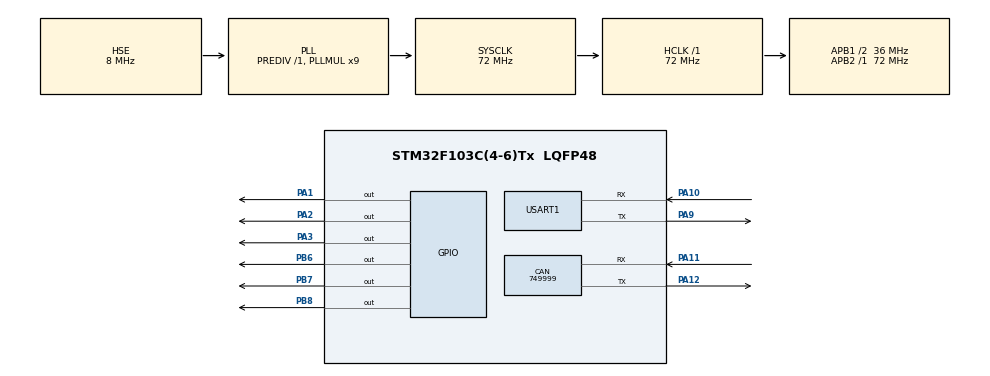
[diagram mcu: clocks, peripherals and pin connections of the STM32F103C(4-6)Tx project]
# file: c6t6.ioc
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CAN.CalculateBaudRate=749999
CAN.CalculateTimeBit=1333
CAN.CalculateTimeQuantum=444.44444444444446
FREERTOS.Tasks01=defaultTask,0,128,StartDefaultTask,Default,NULL,Dynamic,NULL,NULL
FREERTOS.configTIMER_TASK_PRIORITY=1
FREERTOS.configTOTAL_HEAP_SIZE=3072
FREERTOS.configUSE_NEWLIB_REENTRANT=1
FREERTOS.configUSE_TIMERS=1
FREERTOS.configUSE_TRACE_FACILITY=1
Mcu.Family=STM32F1
Mcu.Name=STM32F103C(4-6)Tx
Mcu.Package=LQFP48
NVIC.PriorityGroup=NVIC_PRIORITYGROUP_4
NVIC.TIM1_UP_IRQn=true\:15\:0\:false\:false\:true\:false\:false\:true\:true
NVIC.TimeBase=TIM1_UP_IRQn
NVIC.TimeBaseIP=TIM1
NVIC.USB_LP_CAN1_RX0_IRQn=true\:5\:0\:false\:false\:true\:true\:true\:true\:true
PA1.Signal=GPIO_Output
PA10.Mode=Asynchronous
PA10.Signal=USART1_RX
PA11.GPIO_PuPd=GPIO_PULLUP
PA11.Mode=CAN_Activate
PA11.Signal=CAN_RX
PA12.Mode=CAN_Activate
PA12.Signal=CAN_TX
PA13.Mode=Serial_Wire
PA13.Signal=SYS_JTMS-SWDIO
PA14.Mode=Serial_Wire
PA14.Signal=SYS_JTCK-SWCLK
PA2.Signal=GPIO_Output
PA3.Signal=GPIO_Output
PA9.Mode=Asynchronous
PA9.Signal=USART1_TX
PB6.Signal=GPIO_Output
PB7.Signal=GPIO_Output
PB8.Signal=GPIO_Output
PD0-OSC_IN.Mode=HSE-External-Oscillator
PD0-OSC_IN.Signal=RCC_OSC_IN
PD1-OSC_OUT.Mode=HSE-External-Oscillator
PD1-OSC_OUT.Signal=RCC_OSC_OUT
ProjectManager.HeapSize=0x200
ProjectManager.StackSize=0x400
ProjectManager.TargetToolchain=STM32CubeIDE
RCC.AHBFreq_Value=72000000
RCC.APB1CLKDivider=RCC_HCLK_DIV2
RCC.APB1Freq_Value=36000000
RCC.APB1TimFreq_Value=72000000
RCC.APB2Freq_Value=72000000
RCC.APB2TimFreq_Value=72000000
RCC.HCLKFreq_Value=72000000
RCC.PLLMUL=RCC_PLL_MUL9
RCC.PLLSourceVirtual=RCC_PLLSOURCE_HSE
RCC.SYSCLKFreq_VALUE=72000000
RCC.SYSCLKSource=RCC_SYSCLKSOURCE_PLLCLK
RCC.USBFreq_Value=72000000
USART1.VirtualMode=VM_ASYNC
VP_FREERTOS_VS_CMSIS_V1.Mode=CMSIS_V1
VP_SYS_VS_tim1.Mode=TIM1
board=custom

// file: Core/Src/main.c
/* USER CODE BEGIN Header */
/**
 ******************************************************************************
 * @file           : main.c
 * @brief          : Main program body
 ******************************************************************************
 * @attention
 *
 * Copyright (c) 2025 STMicroelectronics.
 * All rights reserved.
 *
 * This software is licensed under terms that can be found in the LICENSE file
 * in the root directory of this software component.
 * If no LICENSE file comes with this software, it is provided AS-IS.
 *
 ******************************************************************************
 */
/* USER CODE END Header */
#include "main.h"
/* USER CODE BEGIN Includes */
#include "FreeRTOS.h"
#include "task.h"
#include "timers.h"
#include "queue.h"
#include "semphr.h"
#include "event_groups.h"
#include "stdbool.h"
#include "SEGGER_SYSVIEW.h"
/* USER CODE END Includes */

/* USER CODE BEGIN PD */
#define CONTROLLER_ADDR 			0xAF
#define MY_ADDR 					0x01

#define LATCH_PIN 					GPIO_PIN_7
#define CLOCK_PIN 					GPIO_PIN_8
#define DATA_PIN 					GPIO_PIN_6
#define LED7_PORT					GPIOB

#define GREEN_LED_PIN 				GPIO_PIN_2
#define YELLOW_LED_PIN 				GPIO_PIN_1
#define RED_LED_PIN 				GPIO_PIN_3
#define LED_PORT 					GPIOA

//BOARD 4
//#define GREEN_LED_PIN 				GPIO_PIN_3
//#define YELLOW_LED_PIN 				GPIO_PIN_1
//#define RED_LED_PIN 				GPIO_PIN_2
//#define LED_PORT 					GPIOA

#define TIME_LED_GREEN_DEFAULT		15
#define TIME_LED_YELLOW_DEFAULT		5
#define TIME_LED_RED_DEFAULT		20
/* USER CODE END PD */

CAN_HandleTypeDef hcan;

UART_HandleTypeDef huart1;

/* USER CODE BEGIN PV */
const uint8_t Seg[10] =
		{ 0b00010010, 0b10110111, 0b00011001, 0b10010001, 0b10110100,
				0b11010000, 0b01010000, 0b10010111, 0b00010000, 0b10010000, };

typedef enum {
	LEDColor_UNKNOWN = 0x0000,
	LEDColor_RED = 0x0001,
	LEDColor_YELLOW = 0x0002,
	LEDColor_GREEN = 0x0003
} LED_COLOR;

typedef enum {
	CMD_CYCLE = 0x0000,
	CMD_REQUEST = 0x0001,
	CMD_ACK = 0x0002,
	CMD_RESPONSE = 0x0100
} CMD_CODE;

typedef struct {
	LED_COLOR currentColor;
	int32_t remainSeconds;
	int32_t initSeconds[4];
	bool isResp;
} TRAFFIC_LIGHT_STATION;

TRAFFIC_LIGHT_STATION station = { .currentColor = LEDColor_YELLOW,
		.remainSeconds = 0, .initSeconds = { [LEDColor_UNKNOWN] = 0,
				[LEDColor_RED ] = TIME_LED_RED_DEFAULT, [LEDColor_YELLOW
						] = TIME_LED_YELLOW_DEFAULT, [LEDColor_GREEN
						] = TIME_LED_GREEN_DEFAULT }, .isResp = false };

uint8_t canTxData[8];
CAN_RxHeaderTypeDef rxHeader;
CAN_TxHeaderTypeDef txHeader;
uint8_t canRX[8] = { 0 };
CAN_FilterTypeDef canfil;
uint32_t canMailbox;

QueueHandle_t xQueue_LEDColor;
QueueHandle_t xQueue_LED7Seg;

SemaphoreHandle_t xChangeState;
SemaphoreHandle_t xGetReq;

TimerHandle_t xCANCycle;
TimerHandle_t xCANRequest;

//SemaphoreHandle_t xCANMutex;
/* USER CODE END PV */

void SystemClock_Config(void);
static void MX_GPIO_Init(void);
static void MX_CAN_Init(void);
static void MX_USART1_UART_Init(void);
void StartDefaultTask(void const *argument);

/* USER CODE BEGIN PFP */
void LED7_Display(int32_t value);
void LED_SetColor(LED_COLOR color);
void CAN_SendMessage(CMD_CODE cmd, LED_COLOR led_color, uint32_t time_counter);
/* USER CODE END PFP */

/* USER CODE BEGIN 0 */
void TASK_LED7_DisplayValue(void *pvParams);
void TASK_LEDColor_Control(void *pvParams);
void TASK_ManagerPoint(void *pvParams);

void CAN_CycleCallback(TimerHandle_t xTimer);
void CAN_RequestCallback(TimerHandle_t xTimer);
/* USER CODE END 0 */

int main(void) {

	/* MCU Configuration--------------------------------------------------------*/

	/* Reset of all peripherals, Initializes the Flash interface and the Systick. */
	HAL_Init();
	HAL_Delay(360);

	/* Configure the system clock */
	SystemClock_Config();

	/* Initialize all configured peripherals */
	MX_GPIO_Init();
	MX_CAN_Init();
	MX_USART1_UART_Init();
	/* USER CODE BEGIN 2 */
	txHeader.DLC = 8;
	txHeader.IDE = CAN_ID_EXT;
	txHeader.RTR = CAN_RTR_DATA;
	txHeader.StdId = 0x01;
	txHeader.ExtId = (CONTROLLER_ADDR << 8) | MY_ADDR;
	txHeader.TransmitGlobalTime = DISABLE;

	canfil.FilterBank = 0;
	canfil.FilterMode = CAN_FILTERMODE_IDMASK;
	canfil.FilterFIFOAssignment = CAN_RX_FIFO0;
	canfil.FilterIdHigh = 0;
	canfil.FilterIdLow = 0;
	canfil.FilterMaskIdHigh = 0;
	canfil.FilterMaskIdLow = 0;
	canfil.FilterScale = CAN_FILTERSCALE_32BIT;
	canfil.FilterActivation = ENABLE;
	canfil.SlaveStartFilterBank = 14;

	HAL_CAN_ConfigFilter(&hcan, &canfil); //Initialize CAN Filter
	HAL_CAN_Start(&hcan); //Initialize CAN Bus
	HAL_CAN_ActivateNotification(&hcan, CAN_IT_RX_FIFO0_MSG_PENDING); // Initialize CAN Bus Rx Interrupt
	/* USER CODE END 2 */

	/* USER CODE BEGIN RTOS_MUTEX */
	/* add mutexes, ... */
//	xCANMutex = xSemaphoreCreateMutex();
	/* USER CODE END RTOS_MUTEX */

	/* USER CODE BEGIN RTOS_SEMAPHORES */
	/* add semaphores, ... */
	DWT->CYCCNT = 0;
	DWT->CTRL |= DWT_CTRL_CYCCNTENA_Msk;
	SEGGER_UART_init(500000);
	SEGGER_SYSVIEW_Conf();
	vSetVarulMaxPRIGROUPValue();
	//	SEGGER_SYSVIEW_Start();

	xChangeState = xSemaphoreCreateBinary();
	xGetReq = xSemaphoreCreateBinary();
	/* USER CODE END RTOS_SEMAPHORES */

	/* USER CODE BEGIN RTOS_TIMERS */
	/* start timers, add new ones, ... */
	xCANCycle = xTimerCreate("CANCycle", pdMS_TO_TICKS(100), pdTRUE, (void*) 0,
			CAN_CycleCallback);

	if (xCANCycle != NULL) {
		xTimerStart(xCANCycle, 0);
	}

	xCANRequest = xTimerCreate("CANRequest", pdMS_TO_TICKS(100), pdTRUE,
			(void*) 0, CAN_RequestCallback);
	/* USER CODE END RTOS_TIMERS */

	/* USER CODE BEGIN RTOS_QUEUES */
	/* add queues, ... */
	xQueue_LEDColor = xQueueCreate(1, sizeof(LED_COLOR));
	xQueue_LED7Seg = xQueueCreate(1, sizeof(int32_t));
	/* USER CODE END RTOS_QUEUES */

	/* Create the thread(s) */
	/* definition and creation of defaultTask */

	/* USER CODE BEGIN RTOS_THREADS */
	/* add threads, ... */

	xTaskCreate(TASK_LED7_DisplayValue, "LED7", 128, NULL, 1, NULL);
	xTaskCreate(TASK_LEDColor_Control, "LEDColor", 128, NULL, 2, NULL);
	xTaskCreate(TASK_ManagerPoint, "Manager", 128, NULL, 3, NULL);

	vTaskStartScheduler();
	/* USER CODE END RTOS_THREADS */

	/* Start scheduler */

	/* We should never get here as control is now taken by the scheduler */

	/* Infinite loop */
	while (1) {

	}
}

void SystemClock_Config(void) {
	RCC_OscInitTypeDef RCC_OscInitStruct = { 0 };
	RCC_ClkInitTypeDef RCC_ClkInitStruct = { 0 };

	/** Initializes the RCC Oscillators according to the specified parameters
	 * in the RCC_OscInitTypeDef structure.
	 */
	RCC_OscInitStruct.OscillatorType = RCC_OSCILLATORTYPE_HSE;
	RCC_OscInitStruct.HSEState = RCC_HSE_ON;
	RCC_OscInitStruct.HSEPredivValue = RCC_HSE_PREDIV_DIV1;
	RCC_OscInitStruct.HSIState = RCC_HSI_ON;
	RCC_OscInitStruct.PLL.PLLState = RCC_PLL_ON;
	RCC_OscInitStruct.PLL.PLLSource = RCC_PLLSOURCE_HSE;
	RCC_OscInitStruct.PLL.PLLMUL = RCC_PLL_MUL9;
	if (HAL_RCC_OscConfig(&RCC_OscInitStruct) != HAL_OK) {
		Error_Handler();
	}

	/** Initializes the CPU, AHB and APB buses clocks
	 */
	RCC_ClkInitStruct.ClockType = RCC_CLOCKTYPE_HCLK | RCC_CLOCKTYPE_SYSCLK
			| RCC_CLOCKTYPE_PCLK1 | RCC_CLOCKTYPE_PCLK2;
	RCC_ClkInitStruct.SYSCLKSource = RCC_SYSCLKSOURCE_PLLCLK;
	RCC_ClkInitStruct.AHBCLKDivider = RCC_SYSCLK_DIV1;
	RCC_ClkInitStruct.APB1CLKDivider = RCC_HCLK_DIV2;
	RCC_ClkInitStruct.APB2CLKDivider = RCC_HCLK_DIV1;

	if (HAL_RCC_ClockConfig(&RCC_ClkInitStruct, FLASH_LATENCY_2) != HAL_OK) {
		Error_Handler();
	}
}

static void MX_CAN_Init(void) {

	hcan.Instance = CAN1;
	hcan.Init.Prescaler = 9;
	hcan.Init.Mode = CAN_MODE_NORMAL;
	hcan.Init.SyncJumpWidth = CAN_SJW_1TQ;
	hcan.Init.TimeSeg1 = CAN_BS1_3TQ;
	hcan.Init.TimeSeg2 = CAN_BS2_4TQ;
	hcan.Init.TimeTriggeredMode = DISABLE;
	hcan.Init.AutoBusOff = DISABLE;
	hcan.Init.AutoWakeUp = DISABLE;
	hcan.Init.AutoRetransmission = DISABLE;
	hcan.Init.ReceiveFifoLocked = DISABLE;
	hcan.Init.TransmitFifoPriority = DISABLE;
	if (HAL_CAN_Init(&hcan) != HAL_OK) {
		Error_Handler();
	}

}

static void MX_USART1_UART_Init(void) {

	huart1.Instance = USART1;
	huart1.Init.BaudRate = 115200;
	huart1.Init.WordLength = UART_WORDLENGTH_8B;
	huart1.Init.StopBits = UART_STOPBITS_1;
	huart1.Init.Parity = UART_PARITY_NONE;
	huart1.Init.Mode = UART_MODE_TX_RX;
	huart1.Init.HwFlowCtl = UART_HWCONTROL_NONE;
	huart1.Init.OverSampling = UART_OVERSAMPLING_16;
	if (HAL_UART_Init(&huart1) != HAL_OK) {
		Error_Handler();
	}

}

static void MX_GPIO_Init(void) {
	GPIO_InitTypeDef GPIO_InitStruct = { 0 };

	/* GPIO Ports Clock Enable */
	__HAL_RCC_GPIOD_CLK_ENABLE();
	__HAL_RCC_GPIOA_CLK_ENABLE();
	__HAL_RCC_GPIOB_CLK_ENABLE();

	/*Configure GPIO pin Output Level */
	HAL_GPIO_WritePin(GPIOA, GPIO_PIN_1 | GPIO_PIN_2 | GPIO_PIN_3,
			GPIO_PIN_RESET);

	/*Configure GPIO pin Output Level */
	HAL_GPIO_WritePin(GPIOB, GPIO_PIN_6 | GPIO_PIN_7 | GPIO_PIN_8,
			GPIO_PIN_RESET);

	/*Configure GPIO pins : PA1 PA2 PA3 */
	GPIO_InitStruct.Pin = GPIO_PIN_1 | GPIO_PIN_2 | GPIO_PIN_3;
	GPIO_InitStruct.Mode = GPIO_MODE_OUTPUT_PP;
	GPIO_InitStruct.Pull = GPIO_NOPULL;
	GPIO_InitStruct.Speed = GPIO_SPEED_FREQ_LOW;
	HAL_GPIO_Init(GPIOA, &GPIO_InitStruct);

	/*Configure GPIO pins : PB6 PB7 PB8 */
	GPIO_InitStruct.Pin = GPIO_PIN_6 | GPIO_PIN_7 | GPIO_PIN_8;
	GPIO_InitStruct.Mode = GPIO_MODE_OUTPUT_PP;
	GPIO_InitStruct.Pull = GPIO_NOPULL;
	GPIO_InitStruct.Speed = GPIO_SPEED_FREQ_LOW;
	HAL_GPIO_Init(GPIOB, &GPIO_InitStruct);

}

/* USER CODE BEGIN 4 */
void LED7_Display(int32_t value) {
	uint8_t tens = value / 10;
	uint8_t units = value % 10;

	HAL_GPIO_WritePin(LED7_PORT, LATCH_PIN, GPIO_PIN_RESET);

	for (int i = 7; i >= 0; i--) {
		HAL_GPIO_WritePin(LED7_PORT, DATA_PIN, (Seg[units] >> i) & 0x01);
		HAL_GPIO_WritePin(LED7_PORT, CLOCK_PIN, GPIO_PIN_SET);
		HAL_GPIO_WritePin(LED7_PORT, CLOCK_PIN, GPIO_PIN_RESET);
	}

	for (int i = 7; i >= 0; i--) {
		HAL_GPIO_WritePin(LED7_PORT, DATA_PIN, (Seg[tens] >> i) & 0x01);
		HAL_GPIO_WritePin(LED7_PORT, CLOCK_PIN, GPIO_PIN_SET);
		HAL_GPIO_WritePin(LED7_PORT, CLOCK_PIN, GPIO_PIN_RESET);
	}

	HAL_GPIO_WritePin(LED7_PORT, LATCH_PIN, GPIO_PIN_SET);
}

void LED_SetColor(LED_COLOR color) {
	HAL_GPIO_WritePin(LED_PORT, RED_LED_PIN,
			(color == LEDColor_RED) ? GPIO_PIN_SET : GPIO_PIN_RESET);
	HAL_GPIO_WritePin(LED_PORT, YELLOW_LED_PIN,
			(color == LEDColor_YELLOW) ? GPIO_PIN_SET : GPIO_PIN_RESET);
	HAL_GPIO_WritePin(LED_PORT, GREEN_LED_PIN,
			(color == LEDColor_GREEN) ? GPIO_PIN_SET : GPIO_PIN_RESET);
}

void CAN_SendMessage(CMD_CODE cmd, LED_COLOR led_color, uint32_t time_counter) {
//	if (xSemaphoreTake(xCANMutex, pdMS_TO_TICKS(100)) == pdTRUE) {
	canTxData[0] = (cmd >> 8) & 0xFF;
	canTxData[1] = cmd & 0xFF;
	canTxData[2] = (led_color >> 8) & 0xFF;
	canTxData[3] = led_color & 0xFF;
	canTxData[4] = (time_counter >> 24) & 0xFF;
	canTxData[5] = (time_counter >> 16) & 0xFF;
	canTxData[6] = (time_counter >> 8) & 0xFF;
	canTxData[7] = time_counter & 0xFF;

	HAL_CAN_AddTxMessage(&hcan, &txHeader, canTxData, &canMailbox);
//		xSemaphoreGive(xCANMutex);
//	}
}

void TASK_LED7_DisplayValue(void *pvParams) {
	int32_t LED7_Val = -1;
	while (1) {
		if (LED7_Val < 0) {
			xSemaphoreGive(xChangeState);
			xQueueReceive(xQueue_LED7Seg, &LED7_Val, portMAX_DELAY);
		}

		if (LED7_Val == 5)
			xSemaphoreGive(xGetReq);

		if (LED7_Val >= 0) {
			SEGGER_SYSVIEW_PrintfTarget("abc");
			LED7_Display(LED7_Val--);
		}

		station.remainSeconds = LED7_Val;

		vTaskDelay(pdMS_TO_TICKS(1000));
	}
}

void TASK_LEDColor_Control(void *pvParams) {
	LED_COLOR color;
	while (1) {
		if (xQueueReceive(xQueue_LEDColor, &color, portMAX_DELAY) == pdPASS) {
			LED_SetColor(color);
			SEGGER_SYSVIEW_PrintfTarget("hehehe");
			station.currentColor = color;
		}
	}
}

void TASK_ManagerPoint(void *pvParams) {

	int32_t time_counter = 0;
	LED_COLOR color = LEDColor_YELLOW;

	while (1) {
		if (station.remainSeconds <= 2)
			xTimerStop(xCANRequest, 0);

		if (xSemaphoreTake(xGetReq, 0) == pdTRUE
				&& (station.currentColor == LEDColor_YELLOW
						|| station.currentColor == LEDColor_RED)) {
			xTimerStart(xCANRequest, 0);
			station.isResp = false;
		}

		if (xSemaphoreTake(xChangeState, 0) == pdTRUE) {
			if (!station.isResp) {
				station.initSeconds[LEDColor_RED] = TIME_LED_RED_DEFAULT;
				station.initSeconds[LEDColor_YELLOW] = TIME_LED_YELLOW_DEFAULT;
				station.initSeconds[LEDColor_GREEN] = TIME_LED_GREEN_DEFAULT;
			}

			switch (station.currentColor) {
			case LEDColor_YELLOW:
				color = LEDColor_RED;
				time_counter = station.initSeconds[LEDColor_RED] + 1;
				xQueueSend(xQueue_LED7Seg, &time_counter, 0);
				break;
			case LEDColor_RED:
				color = LEDColor_GREEN;
				time_counter = station.initSeconds[LEDColor_GREEN];
				xQueueSend(xQueue_LED7Seg, &time_counter, 0);
				break;
			case LEDColor_GREEN:
			default:
				color = LEDColor_YELLOW;
				time_counter = station.initSeconds[LEDColor_YELLOW];
				xQueueSend(xQueue_LED7Seg, &time_counter, 0);
				break;
			}
			xQueueSend(xQueue_LEDColor, &color, 0);
		}
//		SEGGER_SYSVIEW_PrintfTarget("okoko");
		vTaskDelay(pdMS_TO_TICKS(100));
	}
}
void CAN_CycleCallback(TimerHandle_t xTimer) {
	if (station.remainSeconds != 0xFFFFFFFF)
		CAN_SendMessage(CMD_CYCLE, station.currentColor,
				(uint32_t) station.remainSeconds);
}

void CAN_RequestCallback(TimerHandle_t xTimer) {
	CAN_SendMessage(CMD_REQUEST, station.currentColor,
			(uint32_t) station.remainSeconds);
}

void HAL_CAN_RxFifo0MsgPendingCallback(CAN_HandleTypeDef *hcan1) {
	HAL_CAN_GetRxMessage(hcan1, CAN_RX_FIFO0, &rxHeader, canRX);

	uint8_t destAddr = (rxHeader.StdId >> 8) & 0xFF;
	uint8_t srcAddr = rxHeader.StdId & 0xFF;

	if (destAddr != MY_ADDR || srcAddr != CONTROLLER_ADDR)
		return;

	uint16_t cmd = (canRX[0] << 8) | canRX[1];
	uint16_t ledColor = (canRX[2] << 8) | canRX[3];
	uint32_t timeCounter = (canRX[4] << 24) | (canRX[5] << 16) | (canRX[6] << 8)
			| canRX[7];

	if (cmd != CMD_RESPONSE)
		return;

	BaseType_t xHigherPriorityTaskWoken = pdFALSE;
	xTimerStopFromISR(xCANRequest, &xHigherPriorityTaskWoken);

	if (ledColor < LEDColor_RED || ledColor > LEDColor_GREEN)
		return;

	station.isResp = true;
	station.initSeconds[ledColor] = timeCounter;

	CAN_SendMessage(CMD_ACK, station.currentColor,
			(uint32_t) station.remainSeconds);

	portYIELD_FROM_ISR(xHigherPriorityTaskWoken);
}
/* USER CODE END 4 */

void StartDefaultTask(void const *argument) {
	for (;;) {
	}
}

void HAL_TIM_PeriodElapsedCallback(TIM_HandleTypeDef *htim) {
	if (htim->Instance == TIM1) {
		HAL_IncTick();
	}
}

void Error_Handler(void) {
	__disable_irq();
	while (1) {
	}
}
